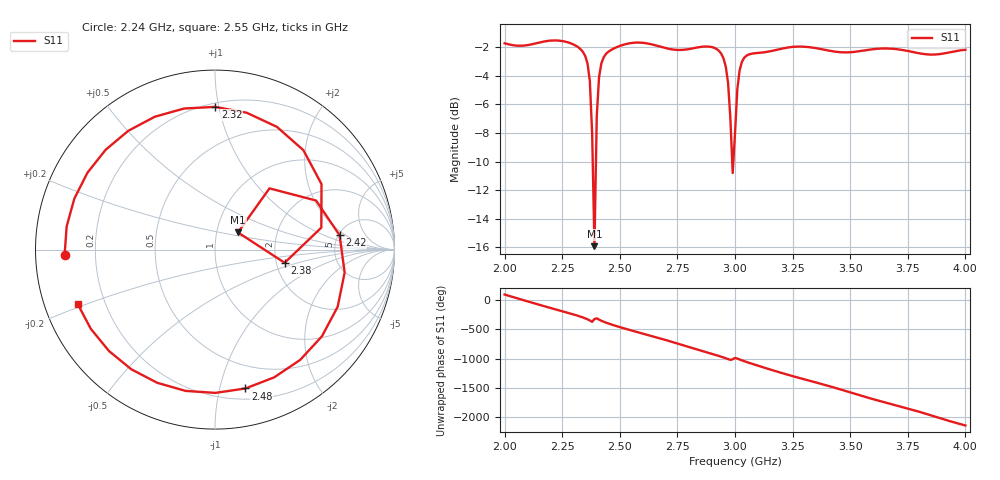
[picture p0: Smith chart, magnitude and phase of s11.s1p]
#  HZ  S  DB  R  50.00
! Rohde & Schwarz Vector Network Analyzer
! Rohde-Schwarz,ZNB20-2Port,1311601062101781,3.50
! Created: UTC 7/4/2024, 8:46:14 AM
! freq[Hz]  db:S11  ang:S11
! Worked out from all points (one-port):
!   201 points, 2 GHz to 4 GHz, reference 50 ohm
!   lowest |S11| = -15.9 dB at 2.39 GHz (marker M1), VSWR 1.38, Z = 63.3 + j12.4 ohm
!   |S11| at or under -10 dB: 2.382 GHz to 2.397 GHz (14.05 MHz wide, 0.588 % of centre); 2.987882 GHz to 2.992911 GHz (5.029 MHz wide, 0.168 % of centre)
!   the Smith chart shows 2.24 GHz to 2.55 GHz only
!   S11 on the Smith chart (normalised r, x): 2.24 GHz: 0.09, -0.02; 2.32 GHz: 0.23, +0.98; 2.38 GHz: 2.22, -0.39; 2.42 GHz: 5.12, +1.60; 2.48 GHz: 0.29, -1.20; 2.55 GHz: 0.10, -0.19
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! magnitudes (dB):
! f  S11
! 2 GHz  -1.7
! 2.24 GHz  -1.5
! 2.25 GHz  -1.6
! 2.32 GHz  -2.0
! 2.36 GHz  -3.1
! 2.37 GHz  -4.4
! 2.38 GHz  -8.1
! 2.39 GHz  -15.9
! 2.4 GHz  -6.8
! 2.41 GHz  -4.1
! 2.42 GHz  -3.1
! 2.48 GHz  -2.0
! 2.5 GHz  -1.9
! 2.55 GHz  -1.7
! 2.75 GHz  -2.2
! 2.94 GHz  -2.4
! 2.96 GHz  -3.3
! 2.97 GHz  -4.5
! 2.98 GHz  -7.0
! 2.99 GHz  -10.8
! 3 GHz  -8.0
! 3.01 GHz  -4.9
! 3.02 GHz  -3.6
! 3.04 GHz  -2.7
! 3.25 GHz  -2.0
! 3.5 GHz  -2.3
! 3.75 GHz  -2.2
! 4 GHz  -2.2
